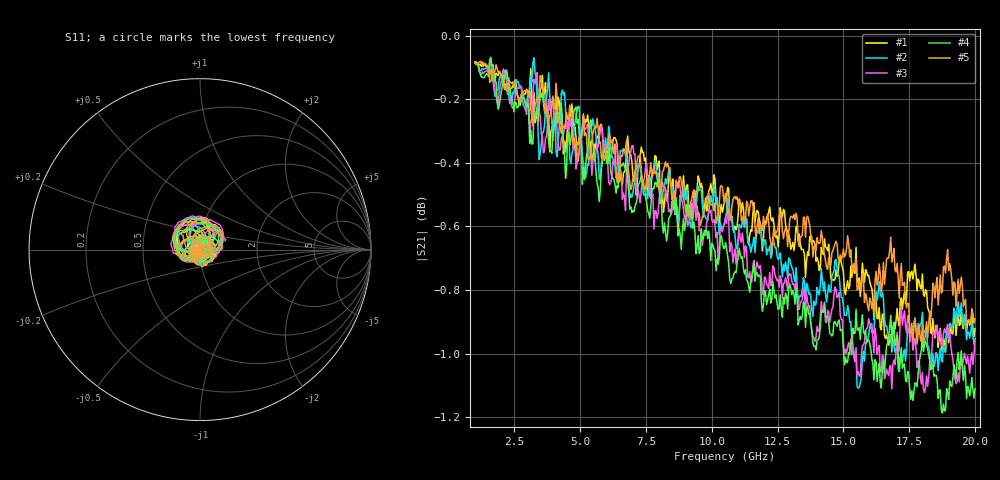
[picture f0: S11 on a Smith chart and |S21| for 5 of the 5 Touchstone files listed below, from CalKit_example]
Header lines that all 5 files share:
!Agilent Technologies,E8361C,US49010278,A.09.20.08
!Agilent E8361C: A.09.20.08
!Correction: S11(Full 2 Port(1,2))
!S21(Full 2 Port(1,2))
!S12(Full 2 Port(1,2))
!S22(Full 2 Port(1,2))
!S2P File: Measurements: S11, S21, S12, S22:
# Hz S  RI  R 50
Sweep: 1 GHz to 20 GHz
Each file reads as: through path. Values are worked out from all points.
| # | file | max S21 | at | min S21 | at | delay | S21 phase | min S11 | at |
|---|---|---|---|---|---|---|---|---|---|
| 1 | L1.s2p | -0.08 dB | 1 GHz | -1.0 dB | 16.84 GHz | 353 ps | 112 deg at 10.52 GHz | -59.3 dB | 3.36 GHz |
| 2 | L2.s2p | -0.07 dB | 3.24 GHz | -1.1 dB | 15.56 GHz | 407 ps | -90 deg at 10.52 GHz | -56.2 dB | 1.04 GHz |
| 3 | L3.s2p | -0.07 dB | 1.6 GHz | -1.1 dB | 18.08 GHz | 446 ps | 126 deg at 10.52 GHz | -59.5 dB | 1 GHz |
| 4 | L4.s2p | -0.07 dB | 1.6 GHz | -1.2 dB | 18.76 GHz | 485 ps | -21 deg at 10.52 GHz | -56.0 dB | 11.32 GHz |
| 5 | T.s2p | -0.08 dB | 1.2 GHz | -1.0 dB | 17.8 GHz | 336 ps | 178 deg at 10.52 GHz | -49.2 dB | 1.56 GHz |
